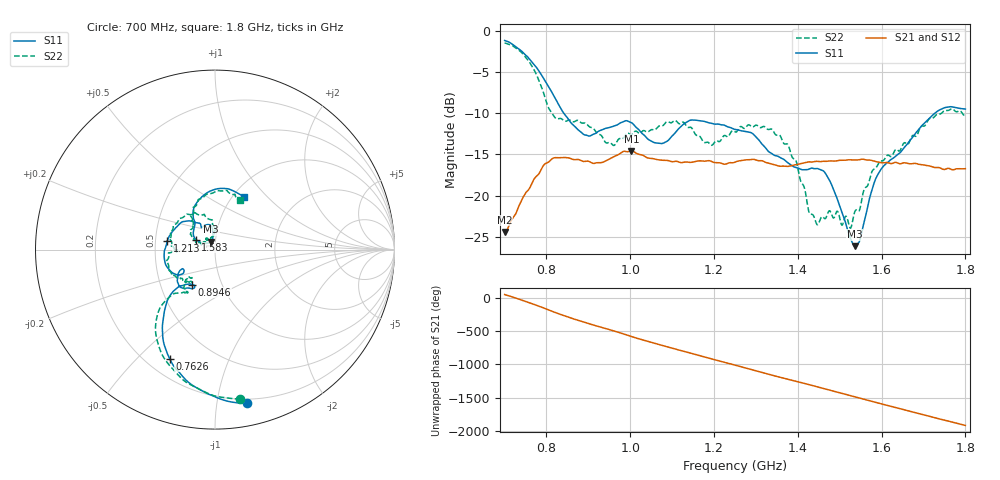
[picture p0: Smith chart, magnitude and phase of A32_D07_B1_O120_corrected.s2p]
! Created with skrf 1.9.0 (http://scikit-rf.org).
# Hz S RI R 50.0
!freq ReS11 ImS11 ReS21 ImS21 ReS12 ImS12 ReS22 ImS22
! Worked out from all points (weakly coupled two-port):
!   1601 points, 700 MHz to 1.8 GHz, reference 50 ohm
!   highest |S21| = -14.57 dB at 1.002 GHz (marker M1); lowest = -24.4 dB at 700 MHz (marker M2)
!   lowest |S11| = -26.1 dB at 1.535 GHz (marker M3), VSWR 1.10, Z = 47.6 + j4.21 ohm
!   |S11| at or under -10 dB: 841.2 MHz to 1.727 GHz (886 MHz wide, 69 % of centre)
!   |S22| runs from -24.0 to -1.5 dB; largest |S21 - S12| = 0.0035
!   S11 on the Smith chart (normalised r, x): 700 MHz: 0.17, -1.21; 762.6 MHz: 0.29, -0.63; 894.6 MHz: 0.72, -0.30; 1.213 GHz: 0.58, +0.06; 1.583 GHz: 0.80, +0.09; 1.8 GHz: 1.12, +0.74
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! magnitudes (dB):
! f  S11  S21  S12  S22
! 700 MHz  -1.2  -24.4  -24.2  -1.5
! 762.6 MHz  -3.6  -18.8  -18.8  -4.1
! 818.9 MHz  -8.0  -15.4  -15.5  -10.4
! 883.6 MHz  -12.3  -15.8  -15.7  -11.2
! 894.6 MHz  -12.7  -15.8  -15.9  -11.2
! 959.2 MHz  -11.6  -15.3  -15.3  -13.9
! 1.002 GHz  -11.1  -14.6  -14.7  -12.6
! 1.067 GHz  -13.6  -15.7  -15.6  -11.6
! 1.143 GHz  -10.9  -16.0  -16.0  -11.7
! 1.213 GHz  -11.4  -16.0  -16.0  -13.4
! 1.25 GHz  -12.0  -15.9  -15.9  -12.3
! 1.357 GHz  -15.4  -16.4  -16.4  -12.7
! 1.395 GHz  -16.6  -16.3  -16.2  -15.7
! 1.434 GHz  -16.7  -15.9  -15.9  -22.3
! 1.473 GHz  -17.9  -15.8  -15.8  -22.0
! 1.525 GHz  -25.1  -15.6  -15.6  -23.9
! 1.535 GHz  -26.1  -15.7  -15.7  -22.0
! 1.549 GHz  -25.2  -15.6  -15.6  -21.4
! 1.583 GHz  -18.4  -15.8  -15.8  -16.8
! 1.617 GHz  -15.8  -16.0  -16.0  -15.1
! 1.733 GHz  -9.8  -16.6  -16.6  -10.1
! 1.8 GHz  -9.5  -16.7  -16.7  -10.2
